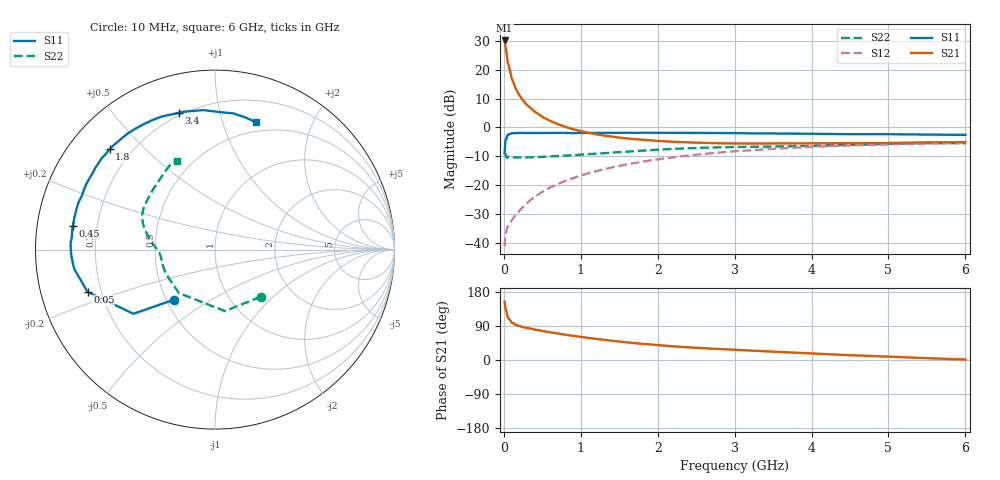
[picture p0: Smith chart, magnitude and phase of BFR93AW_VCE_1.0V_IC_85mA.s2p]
! (c) 2017  Infineon Technologies AG, Munich
! Infineon Technologies  Discrete & RF Semiconductors
! BFR93AW
! VCE =  1.0 V,  IC =  85 mA
! Common Emitter S-Parameters:  Jan 2017
# GHz  S  MA  R  50
!  f  S11  S21  S12  S22
! GHz  MAG  ANG  MAG  ANG  MAG  ANG  MAG  ANG
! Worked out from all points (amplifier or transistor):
!   77 points, 10 MHz to 6 GHz, reference 50 ohm
!   highest |S21| = 30.1 dB at 10 MHz (marker M1)
!   |S21| within 3 dB of that: start of sweep to 27.09 MHz
!   unconditionally stable (mu >= 1): start of sweep to 16.34 MHz; 79.17 MHz to end of sweep
!   at 130 MHz: K = 1.24, MAG = 20.2 dB, |S12| = -31.1 dB
!   at 2.2 GHz: K = 1.23, MAG = -0.2 dB, |S12| = -10.3 dB
!   at 6 GHz: K = 1.08, MAG = -1.5 dB, |S12| = -5.3 dB
!   S11 on the Smith chart (normalised r, x): 10 MHz: 0.55, -0.35; 50 MHz: 0.15, -0.16; 450 MHz: 0.11, +0.08; 1.8 GHz: 0.12, +0.39; 3.4 GHz: 0.19, +0.75; 6 GHz: 0.40, +1.29
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0.01  0.3607 -129.3  31.86 154.2  0.0089 49.8  0.3657 -45.9
0.02  0.5784 -141.8  25.78 135.9  0.0141 44.3  0.3471 -80.8
0.05  0.7482 -161.6  13.46 111.2  0.0195 38.0  0.3148 -129.7
0.1  0.7926 -172.4  7.146 98.8  0.0246 46.7  0.3051 -153.7
0.15  0.8004 -177.1  4.829 93.4  0.0303 52.8  0.3039 -162.6
0.2  0.8038 179.9  3.643 89.8  0.0358 58.4  0.303 -167.0
0.25  0.8053 177.5  2.935 86.8  0.0427 61.5  0.3034 -170.1
0.3  0.8012 175.5  2.458 84.6  0.0491 64.0  0.304 -172.2
0.4  0.8031 172.0  1.878 80.3  0.0632 66.8  0.3075 -174.8
0.45  0.8029 170.4  1.702 78.7  0.0701 67.6  0.309 -175.9
0.5  0.8032 168.9  1.528 76.7  0.077 68.2  0.3107 -176.9
0.6  0.8037 166.0  1.304 73.2  0.0916 68.2  0.3167 -178.5
0.7  0.8044 163.5  1.143 70.1  0.105 68.6  0.3209 -179.9
0.9  0.7997 158.0  0.932 63.8  0.1334 67.4  0.3327 177.6
1.1  0.8049 153.0  0.809 58.3  0.1616 65.9  0.3464 175.0
1.8  0.811 136.4  0.615 42.5  0.2565 56.8  0.3979 165.3
2.1  0.8088 129.7  0.576 37.7  0.2929 52.6  0.4192 161.5
3.1  0.7949 110.1  0.529 26.0  0.3952 38.3  0.4611 148.8
3.4  0.7883 104.7  0.529 23.0  0.4196 34.2  0.4667 144.5
4.1  0.7765 93.5  0.534 16.4  0.4679 25.2  0.4847 133.8
5.1  0.7628 81.1  0.542 8.1  0.5132 13.8  0.5233 120.7
6  0.7453 72.2  0.558 1.2  0.5402 4.9  0.5364 113.4
